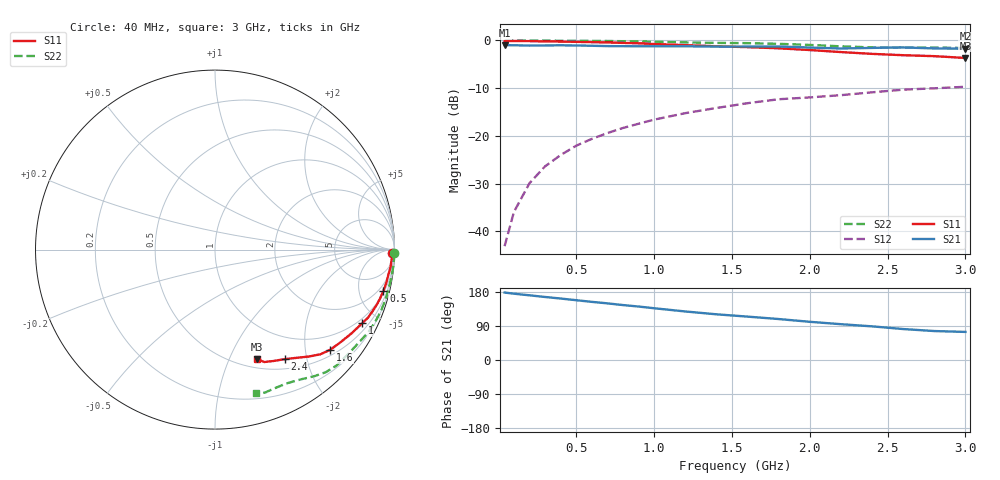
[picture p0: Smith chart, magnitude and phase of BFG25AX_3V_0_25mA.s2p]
! Filename:  BFG25AXG.S2P  Version:  2.0
! Philips part #: BFG25A/X  Date: May 1990
! Bias condition: Vce=3V, Ic=0.25mA
#  MHz  S  MA  R  50
! Freq  S11  S21  S12  S22  !GUM [dB]
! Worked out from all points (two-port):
!   21 points, 40 MHz to 3 GHz, reference 50 ohm
!   highest |S21| = -0.99 dB at 40 MHz (marker M1); lowest = -1.7 dB at 3 GHz (marker M2)
!   |S21| within 3 dB of the highest: start of sweep to end of sweep
!   lowest |S11| = -3.7 dB at 3 GHz (marker M3), VSWR 4.80, Z = 29.8 - j63.8 ohm
!   |S11| at or under -10 dB: nowhere
!   |S22| runs from -1.6 to 0.0 dB; largest |S21 - S12| = 0.89
!   S11 on the Smith chart (normalised r, x): 40 MHz: 51, -64; 500 MHz: 1.17, -8.10; 1 GHz: 0.79, -4.09; 1.6 GHz: 0.63, -2.53; 2.4 GHz: 0.64, -1.63; 3 GHz: 0.60, -1.28
40  0.985 -1.1  0.892 178.0  0.007 84.5  0.999 -1.2
100  0.986 -2.9  0.89 175.0  0.016 88.0  0.999 -3.0
200  0.983 -5.6  0.883 170.7  0.032 85.1  0.997 -5.9
300  0.976 -8.3  0.886 166.3  0.048 83.3  0.995 -8.9
400  0.972 -11.1  0.889 162.2  0.063 80.8  0.992 -11.8
500  0.966 -13.8  0.885 157.8  0.079 78.9  0.991 -14.8
600  0.959 -16.5  0.879 153.4  0.093 77.3  0.988 -17.6
700  0.952 -18.9  0.872 149.5  0.107 75.5  0.986 -20.4
800  0.942 -21.5  0.87 145.0  0.121 74.0  0.981 -23.0
900  0.933 -24.0  0.869 141.1  0.134 72.1  0.976 -25.6
1000  0.917 -26.6  0.869 136.6  0.148 70.1  0.97 -28.3
1200  0.892 -31.6  0.868 128.1  0.173 65.3  0.953 -33.4
1400  0.869 -36.5  0.862 120.6  0.196 62.0  0.942 -38.6
1600  0.85 -41.1  0.861 114.5  0.22 59.3  0.936 -43.6
1800  0.827 -44.9  0.864 108.1  0.242 55.9  0.921 -47.8
2000  0.793 -48.7  0.842 100.8  0.253 52.3  0.897 -51.8
2200  0.755 -53.0  0.823 94.5  0.267 49.3  0.867 -56.5
2400  0.723 -57.6  0.835 88.8  0.286 45.2  0.845 -62.0
2600  0.7 -62.5  0.845 81.7  0.305 41.3  0.841 -67.0
2800  0.684 -66.3  0.824 76.4  0.315 39.1  0.844 -70.8
3000  0.655 -68.9  0.818 74.1  0.327 39.3  0.832 -73.9
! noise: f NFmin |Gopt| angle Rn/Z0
500  1.5  0.9  4  4.2
1000  1.6  0.81  13  4
2000  1.8  0.86  37  2.4
